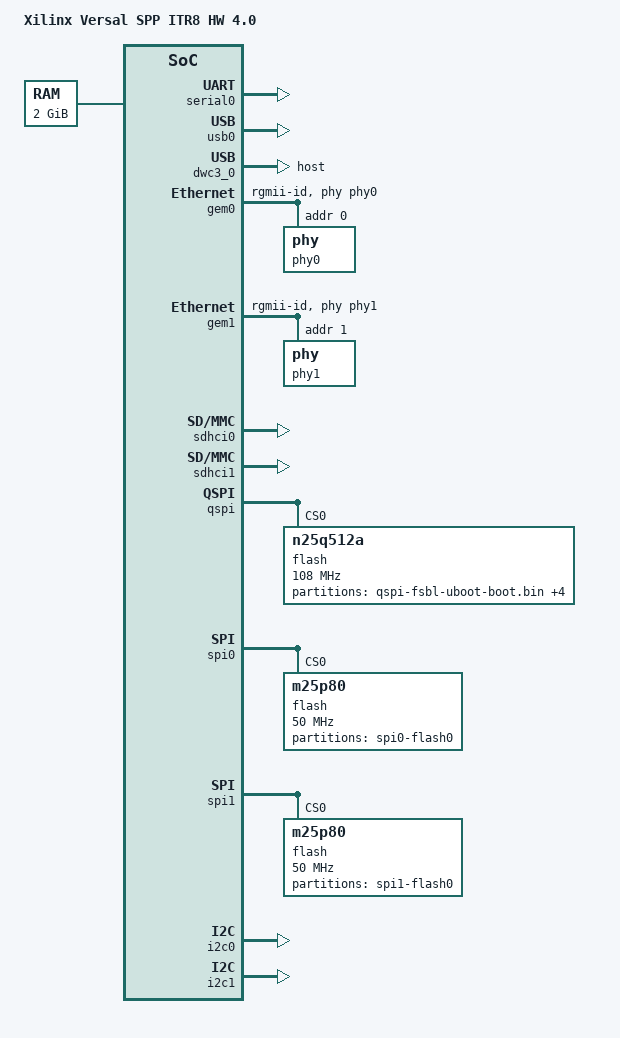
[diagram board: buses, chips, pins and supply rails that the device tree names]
// SPDX-License-Identifier: GPL-2.0
/*
 * dts file for Xilinx Versal
 *
 * (C) Copyright 2017-2022 Xilinx, Inc.
 * (C) Copyright 2022 Advanced Micro Devices, Inc. All Rights Reserved.
 *
 * Michal Simek <michal.simek@xilinx.com>
 */

/ {
	compatible = "xlnx,versal-spp-itr8-cn13940875", "xlnx,versal-spp-itr8", "xlnx,versal";
	model = "Xilinx Versal SPP ITR8 HW 4.0";

	aliases {
		serial0 = &serial0;
		ethernet0 = &gem0;
		ethernet1 = &gem1;
		spi0 = &qspi;
		spi1 = &ospi;
		spi2 = &spi0;
		spi3 = &spi1;
		i2c0 = &i2c0;
		i2c1 = &i2c1;
		mmc0 = &sdhci0;
		mmc1 = &sdhci1;
		usb0 = &usb0;
	};

	memory@0 {
		device_type = "memory";
		reg = <0 0 0 0x80000000>;
	};
	chosen {
		bootargs = "rdinit=/bin/sh console=ttyAMA0 earlycon=pl011,mmio32,0xFF000000,115200n8 clk_ignore_unused maxcpus=1";
		stdout-path = "serial0:115200";
	};

	clk25: clk25 {
		u-boot,dm-pre-reloc;
		compatible = "fixed-clock";
		#clock-cells = <0>;
		clock-frequency = <25000000>;
	};

	clk100: clk100 {
		compatible = "fixed-clock";
		#clock-cells = <0>;
		clock-frequency = <100000000>;
	};

	clk125: clk125 {
		compatible = "fixed-clock";
		#clock-cells = <0>;
		clock-frequency = <125000000>;
	};

	clk200: clk200 {
		compatible = "fixed-clock";
		#clock-cells = <0>;
		clock-frequency = <200000000>;
	};
};

&timer {
	clock-frequency = <2720000>;
};

&serial0 {
	status = "okay";
	clocks = <&clk25 &clk25>;
};

&lpd_dma_chan0 {
	status = "okay";
	clocks = <&clk100 &clk100>;
};

&lpd_dma_chan1 {
	status = "okay";
	clocks = <&clk100 &clk100>;
};

&lpd_dma_chan2 {
	status = "okay";
	clocks = <&clk100 &clk100>;
};

&lpd_dma_chan3 {
	status = "okay";
	clocks = <&clk100 &clk100>;
};

&lpd_dma_chan4 {
	status = "okay";
	clocks = <&clk100 &clk100>;
};

&lpd_dma_chan5 {
	status = "okay";
	clocks = <&clk100 &clk100>;
};

&lpd_dma_chan6 {
	status = "okay";
	clocks = <&clk100 &clk100>;
};

&lpd_dma_chan7 {
	status = "okay";
	clocks = <&clk100 &clk100>;
};

&usb0 {
	status = "okay";
	clocks = <&clk125 &clk125>;
};

&dwc3_0 {
	status = "okay";
	dr_mode = "host";
	snps,usb3_lpm_capable;
	phy-names = "usb3-phy";
	maximum-speed = "high-speed";
};

&gem0 {
	status = "okay";
	clocks = <&clk125 &clk125 &clk125 &clk125>;
	phy-handle = <&phy0>;
	phy-mode = "rgmii-id";
        phy0: phy@0 {
		reg = <0x0>;
		max-speed = <100>;
		ti,rx-internal-delay = <0xb>;
		ti,tx-internal-delay = <0xa>;
		ti,fifo-depth = <0x1>;
		ti,dp83867-rxctrl-strap-quirk;
	};
};

&gem1 {
	status = "okay";
	clocks = <&clk125 &clk125 &clk125 &clk125>;
	phy-handle = <&phy1>;
	phy-mode = "rgmii-id";
        phy1: phy@1 {
		reg = <0x1>;
		max-speed = <100>;
		ti,rx-internal-delay = <0xb>;
		ti,tx-internal-delay = <0xa>;
		ti,fifo-depth = <0x1>;
		ti,dp83867-rxctrl-strap-quirk;
	};
};

&sdhci0 {
	status = "okay";
	clocks = <&clk25 &clk25>;
	xlnx,mio_bank = <0>;
};

&sdhci1 {
	status = "okay";
	clocks = <&clk25 &clk25>;
	xlnx,mio_bank = <0>;
};

&qspi {
	status = "okay";
	num-cs = <0x1>;
	reg = <0x0 0xf1030000 0x0 0x1000>;
	clocks = <&clk125 &clk125>;
	is-dual = <1>;
	spi-rx-bus-width = <4>;
	spi-tx-bus-width = <4>;

	flash@0 {
		compatible = "n25q512a", "micron,m25p80", "spi-flash";
		reg = <0x0>;
		spi-tx-bus-width = <4>;
		spi-rx-bus-width = <4>;
		spi-max-frequency = <108000000>;

		partitions {
			compatible = "fixed-partitions";
			#address-cells = <1>;
			#size-cells = <1>;
			partition@0 {
				label = "qspi-fsbl-uboot-boot.bin";
				reg = <0x0 0x6400000>;
			};
			partition@6400000 {
				label = "qspi-linux";
				reg = <0x6400000 0x500000>;
			};
			partition@6900000 {
				label = "qspi-device-tree";
				reg = <0x6900000 0x20000>;
			};
			partition@6920000 {
				label = "qspi-rootfs";
				reg = <0x6920000 0x5E0000>;
			};
			partition@7f40000 {
				label = "qspi-bootenv";
				reg = <0x7f40000 0x40000>;
			};
		};
	};
};

&ospi {
	status = "disabled";
	clocks = <&clk125 &clk125>;
	bus-num = <2>;
	num-cs = <1>;
	cdns,fifo-depth = <508>;
	cdns,fifo-width = <4>;
	cdns,is-dma = <1>;
	cdns,is-stig-pgm = <1>;
	cdns,trigger-address = <0x00000000>;
	flash@0 {
		compatible = "n25q512a", "micron,m25p80", "spi-flash";
		reg = <0x0>;
		spi-tx-bus-width = <8>;
		spi-rx-bus-width = <8>;
		spi-max-frequency = <108000000>;

		partitions {
			compatible = "fixed-partitions";
			#address-cells = <1>;
			#size-cells = <1>;

			partition@0 {
				label = "qspi-fsbl-uboot";
				reg = <0x0 0x100000>;
			};
			partition@100000 {
				label = "qspi-linux";
				reg = <0x100000 0x500000>;
			};
			partition@600000 {
				label = "qspi-device-tree";
				reg = <0x600000 0x20000>;
			};
			partition@620000 {
				label = "qspi-rootfs";
				reg = <0x620000 0x5E0000>;
			};
		};
	};
};

&spi0 {
	status = "okay";
	clocks = <&clk125 &clk125>;
	num-cs = <1>;

	flash@0 {
		compatible = "m25p80", "spi-flash";
		spi-max-frequency = <50000000>;
		reg = <0x0>;

		partitions {
			compatible = "fixed-partitions";
			#address-cells = <1>;
			#size-cells = <1>;

			partition@0 {
				label = "spi0-flash0";
				reg = <0x0 0x100000>;
			};
		};
	};
};

&spi1 {
	status = "okay";
	clocks = <&clk125 &clk125>;
	num-cs = <3>;

	flash@0 {
		compatible = "m25p80", "spi-flash";
		spi-max-frequency = <50000000>;
		reg = <0x0>;

		partitions {
			compatible = "fixed-partitions";
			#address-cells = <1>;
			#size-cells = <1>;

			partition@0 {
				label = "spi1-flash0";
				reg = <0x0 0x84000>;
			};
		};
	};
};

&i2c0 {
	status = "okay";
	clocks = <&clk100 &clk100>;
};

&i2c1 {
	status = "okay";
	clocks = <&clk100 &clk100>;
};
